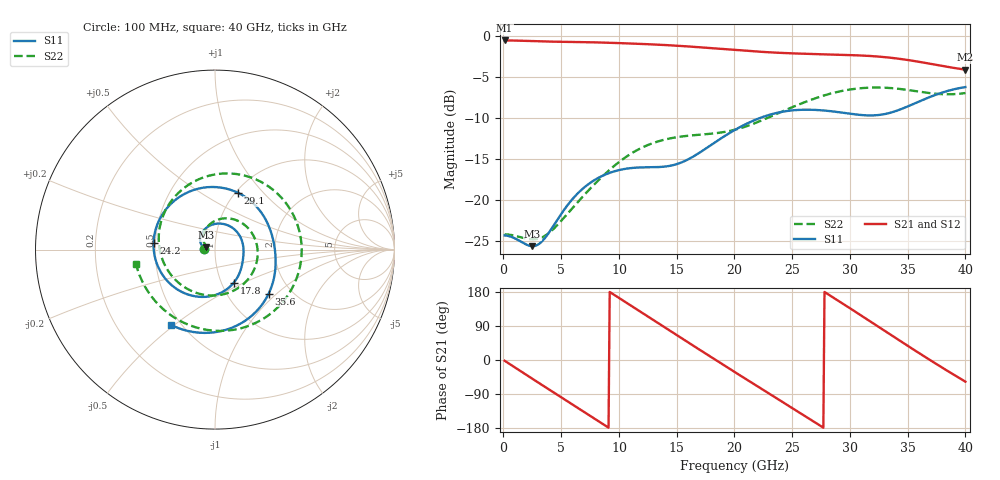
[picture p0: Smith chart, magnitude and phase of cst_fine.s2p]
! D_s8_cap_none: L1 (ref L2 GND) → L3 (ref L4 PWR), no capacitor
! stackup: 8-layer 1.6 mm FR-4 (generic)
! ports: 1, 2
! CST Studio Suite 2025.5 Release from 2025-05-30, time domain (FIT, hexahedral, PBA), 447392 mesh cells, 79 s
! mesh: {'lpw': 30.0, 'lpb': 30.0, 'minstep': 0.0, 'ratio': 20}; ports: port 1 (face); port 2 (face)
! interpolated from CST's 1001 samples to the case grid
# Hz S RI R 50
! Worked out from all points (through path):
!   400 points, 100 MHz to 40 GHz, reference 50 ohm
!   highest |S21| = -0.59 dB at 100 MHz (marker M1); lowest = -4.1 dB at 40 GHz (marker M2)
!   group delay of S21, straight-line fit = 54 ps
!   lowest |S11| = -25.6 dB at 2.5 GHz (marker M3), VSWR 1.11, Z = 45.2 + j1.15 ohm
!   |S11| at or under -10 dB: start of sweep to 22.26 GHz
!   |S22| runs from -24.8 to -6.3 dB; largest |S21 - S12| = 0.0013
!   S11 on the Smith chart (normalised r, x): 100 MHz: 0.89, +0.00; 17.8 GHz: 1.14, -0.44; 24.2 GHz: 0.49, +0.04; 29.1 GHz: 1.02, +0.74; 35.6 GHz: 1.54, -0.89; 40 GHz: 0.44, -0.48
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1e8  -0.0608 0.00116  0.9343 -0.0324  0.9347 -0.0325  -0.0617 0.00131
1.2e9  -0.0562 0.0114  0.8532 -0.3769  0.8532 -0.3773  -0.0583 0.0142
2.5e9  -0.0507 0.0127  0.6024 -0.7046  0.602 -0.7045  -0.0529 0.0225
4.6e9  -0.0715 0.021  -0.00733 -0.9182  -0.00699 -0.9181  -0.0596 0.0358
6.8e9  -0.0751 0.0884  -0.6275 -0.6637  -0.6278 -0.6637  -0.0645 0.0811
8.4e9  -0.0218 0.1366  -0.8766 -0.2383  -0.8765 -0.2381  -0.0407 0.1291
9.9e9  0.0549 0.141  -0.8739 0.2214  -0.8737 0.2212  0.0163 0.167
1.18e10  0.1342 0.0827  -0.5555 0.6968  -0.5557 0.697  0.128 0.1599
1.34e10  0.158 0.0112  -0.1105 0.8742  -0.1102 0.8742  0.2121 0.0815
1.54e10  0.1534 -0.0708  0.4581 0.7339  0.4579 0.7337  0.2289 -0.0819
1.78e10  0.105 -0.1839  0.8255 0.1647  0.8258 0.1648  0.0743 -0.241
2.01e10  -0.0526 -0.2631  0.685 -0.4473  0.6846 -0.4473  -0.1577 -0.2168
2.22e10  -0.2529 -0.1879  0.229 -0.7646  0.2294 -0.7645  -0.2992 -0.037
2.42e10  -0.3424 0.0379  -0.2864 -0.7302  -0.2868 -0.7304  -0.2864 0.1956
2.67e10  -0.1696 0.3105  -0.7232 -0.2734  -0.7227 -0.2733  -0.058 0.4043
2.79e10  -0.0172 0.349  -0.7681 0.0327  -0.7681 0.0322  0.1036 0.4228
2.91e10  0.1274 0.3169  -0.689 0.332  -0.6895 0.332  0.2666 0.3718
3.14e10  0.2941 0.1434  -0.2461 0.7132  -0.2455 0.7131  0.4713 0.0977
3.34e10  0.3366 -0.0293  0.2607 0.6876  0.26 0.6875  0.4268 -0.2206
3.56e10  0.2992 -0.2449  0.6307 0.3045  0.6315 0.3046  0.1322 -0.4412
3.76e10  0.1189 -0.4245  0.6455 -0.1459  0.6446 -0.1463  -0.2011 -0.3936
4e10  -0.2479 -0.4182  0.3362 -0.5221  0.3375 -0.522  -0.4398 -0.0812
